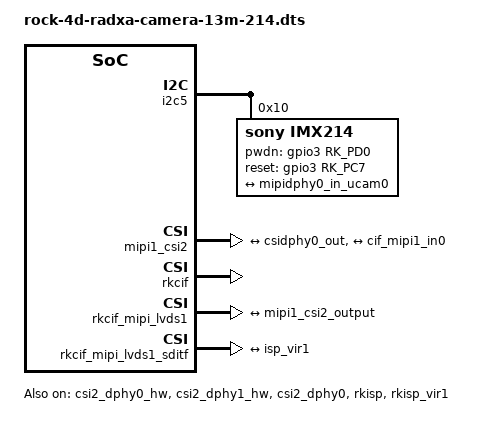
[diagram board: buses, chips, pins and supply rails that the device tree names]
/dts-v1/;
/plugin/;

#include <dt-bindings/clock/rockchip,rk3576-cru.h>
#include <dt-bindings/power/rk3576-power.h>
#include <dt-bindings/gpio/gpio.h>
#include <dt-bindings/pinctrl/rockchip.h>

/ {
	metadata {
		title ="Enable Radxa Camera 13M 214";
		compatible = "radxa,rock-4d";
		category = "camera";
		exclusive = "GPIO3_D0", "GPIO3_C7", "csi2_dphy0", "i2c5";
		description = "Enable Radxa Camera 13M 214.";
	};
};

&i2c5 {
	status = "okay";
	pinctrl-0 = <&i2c5m3_xfer>;
	#address-cells = <1>;
	#size-cells = <0>;

	imx214: imx214@10 {
		status = "okay";
		compatible = "sony,imx214";
		reg = <0x10>;
		clocks = <&cru CLK_MIPI_CAMERAOUT_M1>;
		clock-names = "xvclk";
		pinctrl-names = "default";
		pinctrl-0 = <&cam_clk1m0_clk1>;
		power-domains = <&power RK3576_PD_VI>;
		pwdn-gpios = <&gpio3 RK_PD0 GPIO_ACTIVE_HIGH>;
		reset-gpios = <&gpio3 RK_PC7 GPIO_ACTIVE_HIGH>;
		rockchip,camera-module-index = <0>;
		rockchip,camera-module-facing = "back";
		rockchip,camera-module-name = "RADXA-CAMERA-13M";
		rockchip,camera-module-lens-name = "DEFAULT";

		port {
			imx214_out0: endpoint {
				remote-endpoint = <&mipidphy0_in_ucam0>;
				data-lanes = <1 2 3 4>;
			};
		};
	};
};

&csi2_dphy0_hw {
	status = "okay";
};

&csi2_dphy1_hw {
	status = "okay";
};

&csi2_dphy0 {
	status = "okay";

	ports {
		#address-cells = <1>;
		#size-cells = <0>;

		port@0 {
			reg = <0>;
			#address-cells = <1>;
			#size-cells = <0>;

			mipidphy0_in_ucam0: endpoint@1 {
				reg = <1>;
				remote-endpoint = <&imx214_out0>;
				data-lanes = <1 2 3 4>;
			};
		};

		port@1 {
			reg = <1>;
			#address-cells = <1>;
			#size-cells = <0>;

			csidphy0_out: endpoint@0 {
				reg = <0>;
				remote-endpoint = <&mipi1_csi2_input>;
			};
		};
	};
};

&mipi1_csi2 {
	status = "okay";

	ports {
		#address-cells = <1>;
		#size-cells = <0>;

		port@0 {
			reg = <0>;
			#address-cells = <1>;
			#size-cells = <0>;

			mipi1_csi2_input: endpoint@1 {
				reg = <1>;
				remote-endpoint = <&csidphy0_out>;
			};
		};

		port@1 {
			reg = <1>;
			#address-cells = <1>;
			#size-cells = <0>;

			mipi1_csi2_output: endpoint@0 {
				reg = <0>;
				remote-endpoint = <&cif_mipi1_in0>;
			};
		};
	};
};

&rkcif {
	status = "okay";
};

&rkcif_mmu {
	status = "okay";
};

&rkcif_mipi_lvds1 {
	status = "okay";

	port {
		cif_mipi1_in0: endpoint {
			remote-endpoint = <&mipi1_csi2_output>;
		};
	};
};

&rkcif_mipi_lvds1_sditf {
	status = "okay";

	port {
		mipi_lvds1_sditf: endpoint {
			remote-endpoint = <&isp_vir1>;
		};
	};
};

&rkisp {
	status = "okay";
};

&rkisp_mmu {
	status = "okay";
};

&rkisp_vir1 {
	status = "okay";

	port {
		#address-cells = <1>;
		#size-cells = <0>;

		isp_vir1: endpoint@0 {
			reg = <0>;
			remote-endpoint = <&mipi_lvds1_sditf>;
		};
	};
};
